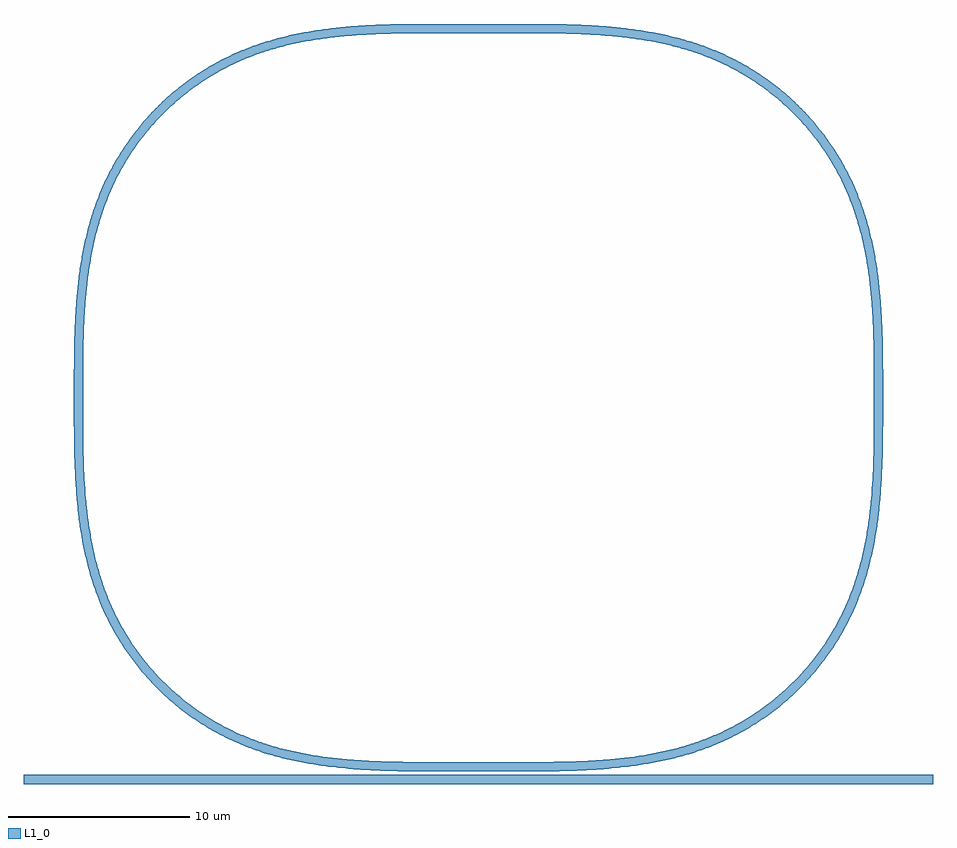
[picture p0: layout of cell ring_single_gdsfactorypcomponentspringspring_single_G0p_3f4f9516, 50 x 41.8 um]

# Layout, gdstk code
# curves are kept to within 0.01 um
from math import pi, radians
import gdstk
lib = gdstk.Library(unit=1e-6, precision=1e-09)
def R(c, l, rs):  # rectangles x0, y0, x1, y1
    for r in rs: c.add(gdstk.rectangle(r[:2], r[2:], *l))
def P(c, l, *ps):  # polygons
    for p in ps: c.add(gdstk.Polygon(p, *l))
L1_0 = (1, 0)

coupler_ring_gdsfactoryp = lib.new_cell('coupler_ring_gdsfactorypcomponentspcouplerspcoupler_rin_fa85cc70')
R(coupler_ring_gdsfactoryp, L1_0, [(-27,-0.25,23,0.25)])
P(coupler_ring_gdsfactoryp, L1_0, [(-4.677,0.45),(-6.439,0.465),(-7.526,0.496),(-8.75,0.563),(-9.701,0.646),(-10.785,0.781),(-11.595,0.915),(-12.666,1.145),(-13.593,1.397),(-14.505,1.704),(-15.396,2.068),(-16.262,2.492),(-16.979,2.9),(-17.673,3.349),(-18.447,3.922),(-19.079,4.453),(-19.777,5.118),(-20.338,5.724),(-20.947,6.47),(-21.429,7.141),(-21.941,7.957),(-22.397,8.806),(-22.742,9.556),(-23.089,10.454),(-23.38,11.37),(-23.618,12.3),(-23.833,13.375),(-23.975,14.321),(-24.093,15.407),(-24.179,16.63),(-24.218,17.582),(-24.243,18.804),(-24.25,20.7),(-23.75,20.7),(-23.743,18.809),(-23.714,17.463),(-23.656,16.254),(-23.57,15.184),(-23.443,14.12),(-23.268,13.065),(-23.038,12.023),(-22.745,10.998),(-22.432,10.121),(-22.12,9.387),(-21.767,8.673),(-21.373,7.98),(-20.939,7.311),(-20.468,6.668),(-19.961,6.053),(-19.42,5.468),(-18.746,4.827),(-18.136,4.314),(-17.389,3.761),(-16.72,3.327),(-16.027,2.933),(-15.192,2.525),(-14.331,2.173),(-13.448,1.876),(-12.548,1.63),(-11.635,1.432),(-10.712,1.276),(-9.782,1.158),(-8.714,1.062),(-7.506,0.996),(-6.43,0.965),(-4.676,0.95),(1.081,0.951),(3.237,0.986),(4.446,1.044),(5.382,1.117),(6.314,1.221),(7.372,1.383),(8.418,1.599),(9.32,1.838),(10.081,2.082),(10.948,2.418),(11.791,2.811),(12.606,3.259),(13.389,3.761),(14.136,4.314),(14.746,4.827),(15.42,5.468),(16.134,6.255),(16.708,6.986),(17.014,7.421),(17.303,7.867),(17.767,8.673),(18.175,9.508),(18.527,10.369),(18.862,11.38),(19.131,12.412),(19.34,13.46),(19.512,14.651),(19.628,15.852),(19.704,17.194),(19.743,18.809),(19.75,20.7),(20.25,20.7),(20.243,18.804),(20.209,17.31),(20.137,15.95),(20.054,14.999),(19.919,13.915),(19.706,12.702),(19.453,11.635),(19.134,10.584),(18.795,9.683),(18.397,8.806),(17.941,7.957),(17.655,7.487),(17.351,7.027),(17.03,6.58),(16.692,6.145),(16.061,5.417),(15.68,5.02),(15.283,4.639),(14.555,4.008),(13.898,3.507),(13.097,2.972),(12.262,2.492),(11.396,2.068),(10.505,1.704),(9.593,1.397),(8.666,1.145),(7.595,0.915),(6.785,0.781),(5.701,0.646),(4.75,0.563),(3.526,0.496),(2.439,0.465),(1.083,0.451)])

bend_euler_gdsfactorypco = lib.new_cell('bend_euler_gdsfactorypcomponentspbendspbend_euler_R20_A_9304f6d5')
P(bend_euler_gdsfactorypco, L1_0, [(0,-0.25),(0,0.25),(1.891,0.257),(3.237,0.286),(4.446,0.344),(5.516,0.43),(6.58,0.557),(7.635,0.732),(8.677,0.962),(9.702,1.255),(10.579,1.568),(11.313,1.88),(12.027,2.233),(12.72,2.627),(13.389,3.061),(14.032,3.532),(14.647,4.039),(15.232,4.58),(15.873,5.254),(16.386,5.864),(16.939,6.611),(17.373,7.28),(17.767,7.973),(18.12,8.687),(18.432,9.421),(18.745,10.298),(19.038,11.323),(19.268,12.365),(19.443,13.42),(19.57,14.484),(19.656,15.554),(19.714,16.763),(19.743,18.109),(19.75,20),(20.25,20),(20.243,18.104),(20.209,16.61),(20.137,15.25),(20.054,14.299),(19.919,13.215),(19.785,12.405),(19.587,11.467),(19.342,10.539),(19.043,9.624),(18.742,8.856),(18.397,8.106),(17.941,7.257),(17.429,6.441),(16.947,5.77),(16.338,5.024),(15.68,4.32),(14.976,3.662),(14.23,3.053),(13.559,2.571),(12.743,2.059),(11.894,1.603),(11.144,1.258),(10.376,0.957),(9.461,0.658),(8.533,0.413),(7.595,0.215),(6.785,0.081),(5.701,-0.054),(4.75,-0.137),(3.39,-0.209),(1.896,-0.243)])

straight_gdsfactorypcomp = lib.new_cell('straight_gdsfactorypcomponentspwaveguidespstraight_L4_N_a6eac62c')
R(straight_gdsfactorypcomp, L1_0, [(0,-0.25,4,0.25)])

c_straight_gdsfactorypcomp = lib.new_cell('straight_gdsfactorypcomponentspwaveguidespstraight_L0p6_058e2168')
R(c_straight_gdsfactorypcomp, L1_0, [(0,-0.25,0.6,0.25)])

ring_single_gdsfactorypc = lib.new_cell('ring_single_gdsfactorypcomponentspringspring_single_G0p_3f4f9516')
ring_single_gdsfactorypc.add(gdstk.Reference(coupler_ring_gdsfactoryp, (0,0)))
ring_single_gdsfactorypc.add(gdstk.Reference(bend_euler_gdsfactorypco, (-4,41.3), rotation=pi))
ring_single_gdsfactorypc.add(gdstk.Reference(bend_euler_gdsfactorypco, (20,21.3), rotation=pi/2))
ring_single_gdsfactorypc.add(gdstk.Reference(straight_gdsfactorypcomp, (0,41.3), rotation=pi))
ring_single_gdsfactorypc.add(gdstk.Reference(c_straight_gdsfactorypcomp, (-24,20.7), rotation=pi/2))
ring_single_gdsfactorypc.add(gdstk.Reference(c_straight_gdsfactorypcomp, (20,21.3), rotation=3*pi/2))

lib.write_gds('ring_single_gdsfactorypcomponentspringspring_single_G0p_3f4f9516.gds')
